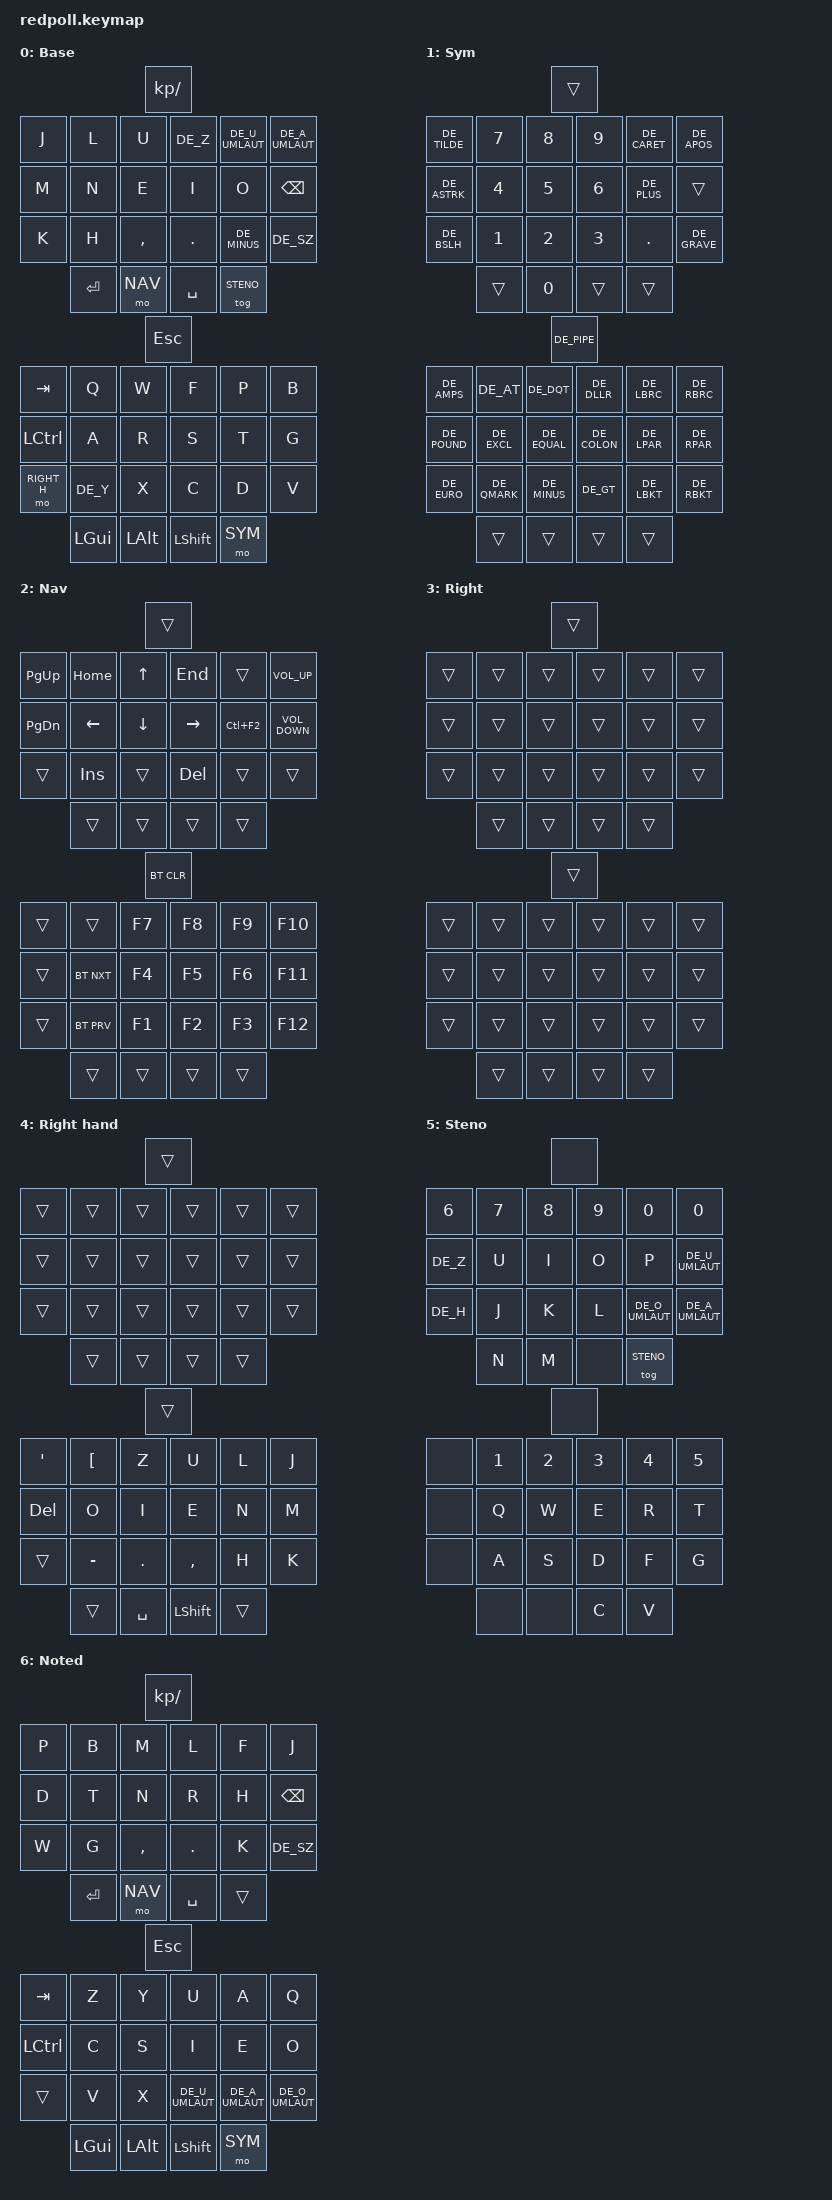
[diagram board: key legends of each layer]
/*
 * build firmware locally:
 *   cd github/zmk/app
 *   west build -b nice_nano_v2 -- -DSHIELD=redpoll
     ;; reset controller
 *   cp build/zephyr/zmk.uf2 /media/.../NICENANO/
 */

/* TODOs
* move Ö Combo or make timeout longer
* move Bluetooth Buttons. So annoying sometimes. Maybe to right layer?
*/

#include <behaviors.dtsi>
#include <dt-bindings/zmk/bt.h>
#include <dt-bindings/zmk/keys.h>
#include "keys_de.h"

#define BASE 0
#define SYM 1
#define NAV 2
#define MISC 3
#define RIGHT_H 4
#define STENO 5

#define COMBO_TIMEOUT 30

/ {
    combos {
        compatible = "zmk,combos";

        OE {
            bindings = <&kp DE_O_UMLAUT>;
            key-positions = <10 11>;
            layers = <BASE>;
            timeout-ms = <COMBO_TIMEOUT>; // default=50
        };

        PROZENT {
            bindings = <&kp DE_PRCNT>;
            key-positions = <26 27>;
            layers = <SYM>;
            timeout-ms = <COMBO_TIMEOUT>;
        };

        LESSTHAN {
            bindings = <&kp DE_LT>;
            key-positions = <38 39>;
            layers = <SYM>;
            timeout-ms = <COMBO_TIMEOUT>;
        };
    };
/*
    conditional_layers {
        compatible = "zmk,conditional-layers";
        tri_layer {
            if-layers = <SYM NAV>;
            then-layer = <MISC>;
        };
    };
*/
    keymap {
        compatible = "zmk,keymap";

        /* Helper for combos
                                23              0   
                24  25  26  27  28  29      1   2   3   4   5   6 
                30  31  32  33  34  35      7   8   9   10  11  12
                36  37  38  39  40  41      13  14  15  16  17  18
                        42  43  44  45      19  20  21  22

        */

        base {
            bindings = <
                                                                              &kp KP_SLASH
                                                                     &kp J    &kp L    &kp U      &kp DE_Z   &kp DE_U_UMLAUT &kp DE_A_UMLAUT
                                                                     &kp M    &kp N    &kp E      &kp I      &kp O           &kp BSPC
                                                                     &kp K    &kp H    &kp COMMA  &kp DOT    &kp DE_MINUS    &kp DE_SZ
                                                                     &kp RET  &mo NAV  &kp SPACE  &tog STENO   
                                                   &kp ESCAPE 
&kp TAB      &kp Q       &kp W         &kp F       &kp P      &kp B
&kp LCTRL    &kp A       &kp R         &kp S       &kp T      &kp G
&mo RIGHT_H  &kp DE_Y    &kp X         &kp C       &kp D      &kp V
                       &kp LEFT_GUI  &kp LEFT_ALT  &kp LSHFT  &mo SYM
            >;

            label = "Base";
        };

        sym {
            bindings = <
                                                                                                     &trans
                                                                                       &kp DE_TILDE  &kp N7  &kp N8  &kp N9  &kp DE_CARET  &kp DE_APOS
                                                                                       &kp DE_ASTRK  &kp N4  &kp N5  &kp N6  &kp DE_PLUS   &trans
                                                                                       &kp DE_BSLH   &kp N1  &kp N2  &kp N3  &kp DOT    &kp DE_GRAVE
                                                                                       &trans        &kp N0  &trans  &trans

                                                        &kp DE_PIPE
&kp DE_AMPS  &kp DE_AT      &kp DE_DQT    &kp DE_DLLR   &kp DE_LBRC  &kp DE_RBRC
&kp DE_POUND &kp DE_EXCL    &kp DE_EQUAL  &kp DE_COLON  &kp DE_LPAR  &kp DE_RPAR
&kp DE_EURO  &kp DE_QMARK   &kp DE_MINUS  &kp DE_GT     &kp DE_LBKT  &kp DE_RBKT
                            &trans        &trans        &trans       &trans
            >;

            label = "Sym";
        };

        nav {
            bindings = <
                                                                &trans
                                                     &kp PG_UP  &kp HOME  &kp UP    &kp END    &trans      &kp K_VOLUME_UP
                                                     &kp PG_DN  &kp LEFT  &kp DOWN  &kp RIGHT  &kp LC(F2)  &kp K_VOLUME_DOWN
                                                     &trans     &kp INS   &trans    &kp DEL    &trans      &trans
                                                     &trans     &trans    &trans    &trans     
                                    &bt BT_CLR 
&trans  &trans      &kp F7  &kp F8  &kp F9  &kp F10
&trans  &bt BT_NXT  &kp F4  &kp F5  &kp F6  &kp F11
&trans  &bt BT_PRV  &kp F1  &kp F2  &kp F3  &kp F12
                    &trans  &trans  &trans  &trans
            >;

            label = "Nav";
        };

        misc {
            bindings = <                                            &trans
                                                            &trans  &trans  &trans  &trans  &trans  &trans
                                                            &trans  &trans  &trans  &trans  &trans  &trans
                                                            &trans  &trans  &trans  &trans  &trans  &trans
                                                            &trans  &trans  &trans  &trans

                                &trans
&trans  &trans  &trans  &trans  &trans  &trans
&trans  &trans  &trans  &trans  &trans  &trans
&trans  &trans  &trans  &trans  &trans  &trans
                &trans  &trans  &trans  &trans
            >;

            label = "Right";
        };

        right-hand {
            bindings = <                                            &trans
                                                            &trans  &trans  &trans  &trans  &trans  &trans
                                                            &trans  &trans  &trans  &trans  &trans  &trans
                                                            &trans  &trans  &trans  &trans  &trans  &trans
                                                            &trans  &trans  &trans  &trans
                                         &trans
&kp APOS  &kp LBKT   &kp Z    &kp U      &kp L      &kp J
&kp DEL   &kp O      &kp I    &kp E      &kp N      &kp M
&trans    &kp MINUS  &kp DOT  &kp COMMA  &kp H      &kp K
                     &trans   &kp SPACE  &kp LSHFT  &trans
            >;

            label = "Right hand";
        };

        steno {
            bindings = <                                                
                                                                    &none
                                                         &kp N6     &kp N7  &kp N8  &kp N9      &kp N0           &kp N0
                                                         &kp DE_Z   &kp U   &kp I   &kp O       &kp P            &kp DE_U_UMLAUT 
                                                         &kp DE_H   &kp J   &kp K   &kp L       &kp DE_O_UMLAUT  &kp DE_A_UMLAUT 
                                                         &kp N      &kp M   &none   &tog STENO   
                                &none
&none   &kp N1  &kp N2  &kp N3  &kp N4  &kp N5 
&none   &kp Q   &kp W   &kp E   &kp R   &kp T
&none   &kp A   &kp S   &kp D   &kp F   &kp G
                &none   &none   &kp C   &kp V
                            >;

            label = "Steno";
        };

        noted {
            bindings = <                                             &kp KP_SLASH
                                                            &kp P    &kp B        &kp M      &kp L    &kp F  &kp J
                                                            &kp D    &kp T        &kp N      &kp R    &kp H  &kp BSPC
                                                            &kp W    &kp G        &kp COMMA  &kp DOT  &kp K  &kp DE_SZ
                                                            &kp RET  &mo NAV      &kp SPACE  &trans   
                                                 &kp ESCAPE
&kp TAB    &kp Z  &kp Y         &kp U            &kp A            &kp Q
&kp LCTRL  &kp C  &kp S         &kp I            &kp E            &kp O
&trans     &kp V  &kp X         &kp DE_U_UMLAUT  &kp DE_A_UMLAUT  &kp DE_O_UMLAUT 
                  &kp LEFT_GUI  &kp LEFT_ALT     &kp LSHFT        &mo SYM
            >;

            label = "Noted";
        };
    };
};
